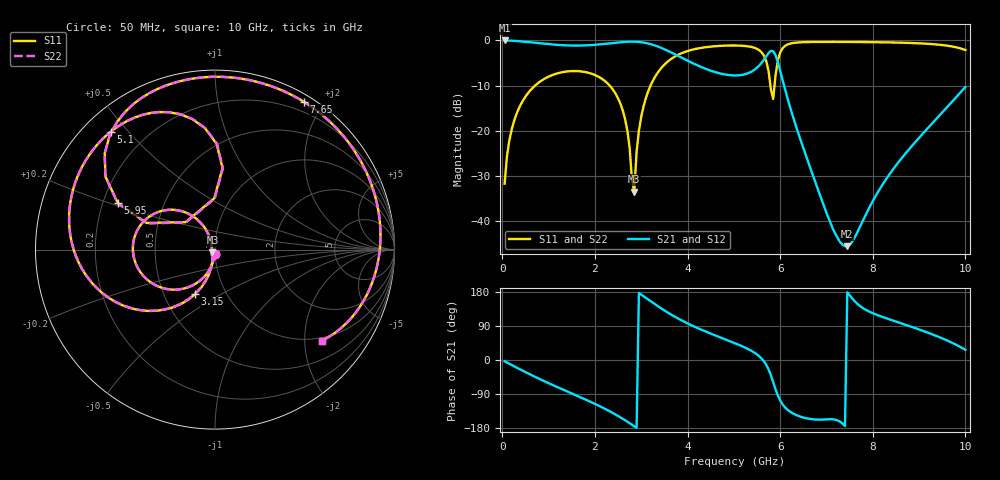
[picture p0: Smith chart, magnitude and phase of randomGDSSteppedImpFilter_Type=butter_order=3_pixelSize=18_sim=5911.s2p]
! freq	dB(S11)	phase(S11)	dB(S12)	phase(S12)
!  dB(S21)	phase(S21)	dB(S22)	phase(S22)
!S-par simulation data
#  GHz  S  DB  R 50
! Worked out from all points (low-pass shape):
!   200 points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, 50 MHz to 10 GHz, reference 50 ohm
!   highest |S21| = -0.01 dB at 50 MHz (marker M1); lowest = -45.6 dB at 7.45 GHz (marker M2)
!   |S21| within 3 dB of the highest: start of sweep to 3.713 GHz; 5.736 GHz to 5.885 GHz (149.4 MHz wide, 2.57 % of centre)
!   lowest |S11| = -33.5 dB at 2.85 GHz (marker M3), VSWR 1.04, Z = 48.6 - j1.49 ohm
!   |S11| at or under -10 dB: start of sweep to 710.1 MHz; 2.316 GHz to 3.202 GHz (886.2 MHz wide, 32.1 % of centre); 5.789 GHz to 5.879 GHz (89.42 MHz wide, 1.53 % of centre)
!   |S22| runs from -33.1 to -0.3 dB; largest |S21 - S12| = 0
!   S11 on the Smith chart (normalised r, x): 50 MHz: 1.00, -0.05; 3.15 GHz: 0.71, -0.38; 5.1 GHz: 0.08, +0.45; 5.95 GHz: 0.26, +0.21; 7.65 GHz: 0.08, +1.76; 10 GHz: 0.92, -2.42
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0.05  -31.77 -93.3  -0.01 -3.3  -0.01 -3.3  -31.77 -93.3
0.2  -19.87 -103.4  -0.07 -13.0  -0.07 -13.0  -19.87 -103.4
0.5  -12.47 -122.4  -0.30 -32.0  -0.30 -32.0  -12.47 -122.4
1.75  -6.94 168.1  -1.12 -101.7  -1.12 -101.7  -6.94 168.2
2.55  -14.03 120.8  -0.40 -151.4  -0.40 -151.4  -14.02 121.2
2.85  -33.53 -133.4  -0.27 -174.9  -0.27 -174.9  -33.08 -136.1
2.95  -20.03 -101.8  -0.34 176.8  -0.34 176.8  -20.02 -102.7
3.15  -11.31 -114.0  -0.68 159.6  -0.68 159.6  -11.31 -114.4
3.4  -6.54 -133.6  -1.51 138.7  -1.51 138.7  -6.54 -133.9
4.15  -1.94 177.1  -5.23 88.0  -5.23 88.0  -1.94 177.0
5.05  -1.13 133.9  -7.77 43.1  -7.77 43.1  -1.13 133.8
5.1  -1.14 131.5  -7.75 40.6  -7.75 40.6  -1.14 131.4
5.55  -2.18 104.4  -5.55 9.7  -5.55 9.7  -2.18 104.3
5.75  -6.81 84.7  -2.80 -24.9  -2.80 -24.9  -6.83 84.4
5.85  -12.98 136.9  -2.40 -58.4  -2.40 -58.4  -13.09 137.1
5.95  -4.42 154.3  -4.80 -93.6  -4.80 -93.6  -4.43 154.5
6.2  -0.75 123.0  -14.31 -135.2  -14.31 -135.2  -0.75 123.0
6.7  -0.34 95.4  -29.70 -156.5  -29.70 -156.5  -0.34 95.3
7.45  -0.33 66.4  -45.65 178.6  -45.65 178.6  -0.33 66.4
7.65  -0.35 59.0  -42.93 150.2  -42.93 150.2  -0.35 59.0
8.35  -0.44 33.1  -29.85 107.7  -29.85 107.7  -0.44 33.1
10  -2.12 -40.4  -10.32 27.0  -10.32 27.0  -2.12 -40.4
